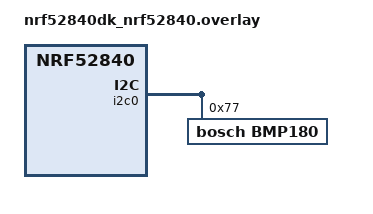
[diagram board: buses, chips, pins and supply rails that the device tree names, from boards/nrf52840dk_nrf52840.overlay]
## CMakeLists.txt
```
# SPDX-License-Identifier: Apache-2.0

cmake_minimum_required(VERSION 3.20.0)
find_package(Zephyr REQUIRED HINTS $ENV{ZEPHYR_BASE})
project(Sensor_BMP180)

FILE(GLOB app_sources src/*.c)
target_sources(app PRIVATE ${app_sources})
```

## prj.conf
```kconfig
CONFIG_LOG=y
CONFIG_CBPRINTF_FP_SUPPORT=y

CONFIG_I2C=y
CONFIG_SENSOR=y
CONFIG_BMP180=y
```

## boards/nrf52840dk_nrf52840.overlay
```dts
// To get started, press Ctrl+Space to bring up the completion menu and view the available nodes.

// You can also use the buttons in the sidebar to perform actions on nodes.
// Actions currently available include:

// * Enabling / disabling the node
// * Adding the bus to a bus
// * Removing the node
// * Connecting ADC channels

// For more help, browse the DeviceTree documentation at https://docs.zephyrproject.org/latest/guides/dts/index.html
// You can also visit the nRF DeviceTree extension documentation at https://docs.nordicsemi.com/bundle/nrf-connect-vscode/page/guides/ncs_configure_app.html#devicetree-support-in-the-extension

&i2c0 {
	bmp180@77 {
			compatible = "bosch,bmp180";
			reg = <0x77>; /* Endereço I2C do BMP180 */
			osr-press = <1>; /* Defina o oversampling de pressão (0 a 3) */
		};
	};
```

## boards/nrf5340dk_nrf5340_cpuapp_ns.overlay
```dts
// To get started, press Ctrl+Space to bring up the completion menu and view the available nodes.

// You can also use the buttons in the sidebar to perform actions on nodes.
// Actions currently available include:

// * Enabling / disabling the node
// * Adding the bus to a bus
// * Removing the node
// * Connecting ADC channels

// For more help, browse the DeviceTree documentation at https://docs.zephyrproject.org/latest/guides/dts/index.html
// You can also visit the nRF DeviceTree extension documentation at https://docs.nordicsemi.com/bundle/nrf-connect-vscode/page/guides/ncs_configure_app.html#devicetree-support-in-the-extension

&i2c1 {
	bmp180@77 {
			compatible = "bosch,bmp180";
			reg = <0x77>; /* Endereço I2C do BMP180 */
			osr-press = <1>; /* Defina o oversampling de pressão (0 a 3) */
		};
	};
```

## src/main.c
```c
/*
 * Projeto: Sensor BMP180
 * Autor: João Dullius
 * Licença: Apache-2.0
 */

 #include <zephyr/kernel.h>
 #include <zephyr/device.h>
 #include <zephyr/drivers/sensor.h>
 #include <zephyr/logging/log.h>
 
 LOG_MODULE_REGISTER(sensor_bmp180, LOG_LEVEL_DBG);
 
 static const struct device *init_sensor(void) {
	 const struct device *dev = DEVICE_DT_GET_ONE(bosch_bmp180);
	 
	 if (!device_is_ready(dev)) {
		 LOG_ERR("BMP180 não encontrado!");
		 return NULL;
	 }
	 return dev;
 }
 
 static void read_sensor_data(const struct device *sensor) {
	 struct sensor_value pressure, temp;
 
	 if (sensor_sample_fetch(sensor) < 0) {
		 LOG_ERR("Falha ao obter amostra do sensor");
		 return;
	 }
 
	 sensor_channel_get(sensor, SENSOR_CHAN_PRESS, &pressure);
	 sensor_channel_get(sensor, SENSOR_CHAN_DIE_TEMP, &temp);
 
	 LOG_INF("Pressão: %.3f kPa", sensor_value_to_double(&pressure));
	 LOG_INF("Temperatura: %.3f °C", sensor_value_to_double(&temp));
 }
 
 int main(void) {
	 const struct device *sensor = init_sensor();
	 if (!sensor) {
		 return -1;
	 }
 
	 while (1) {
		 read_sensor_data(sensor);
		 k_sleep(K_SECONDS(2));
	 }
	 return 0;
 }
 
```
